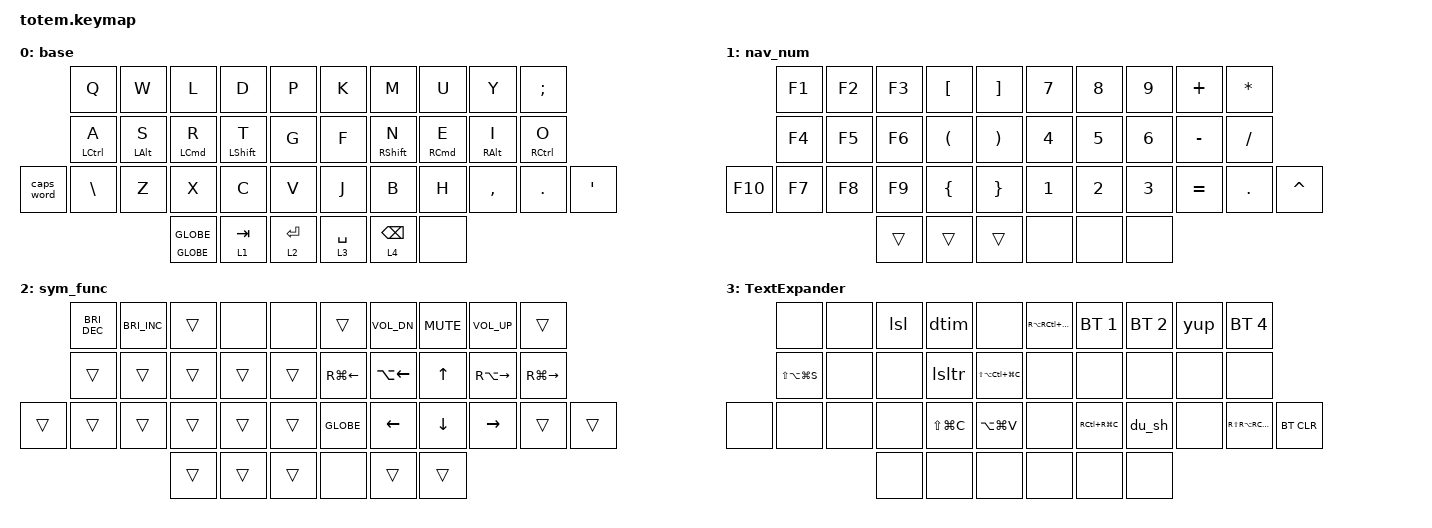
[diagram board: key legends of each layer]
//
//                                                        ▀▀▀▀▀     ▀▀▀▀▀          ▀▀█▀▀
//                                                        ▄▀▀▀▄  ▄  ▄▀▀▀▄  ▄  ▄▀▀▀▄  █  ▄▀▀▀▄
//                                                        █   █  █  █   █  █  █   █  █  █   █
//                                                         ▀▀▀   █   ▀▀▀   █   ▀▀▀   ▀   ▀▀▀
//                                                               █      ▄▄▄█▄▄▄    █   █  
//                                                               ▀      █  █  █     █▄█
//                                                             ▀▀▀▀▀    █  █  █      ▀
//                                                                      ▀  ▀  ▀
//
// ▄▄▄▄▄▄▄▄▄▄▄▄▄▄▄▄▄▄▄▄▄▄▄▄▄▄▄▄▄▄▄▄▄▄▄▄▄▄▄▄▄▄▄▄▄▄▄▄▄▄▄▄▄▄▄▄▄▄▄▄▄▄▄▄▄▄▄▄▄▄▄▄▄▄▄▄▄▄▄▄▄▄▄▄▄▄▄▄▄▄▄▄▄▄▄▄▄▄▄▄▄▄▄▄▄▄▄▄▄▄▄▄▄▄▄▄▄▄▄▄▄▄▄▄▄▄▄▄▄▄▄▄▄▄▄▄▄▄▄▄▄▄▄▄▄▄▄▄▄

#include <behaviors.dtsi>
#include <dt-bindings/zmk/bt.h>
#include <dt-bindings/zmk/keys.h>

/ {
    behaviors {
        cw: cw {
            compatible = "zmk,behavior-caps-word";
            label = "CW";
            #binding-cells = <0>;
            continue-list = <CAPSLOCK>;
        };

        hm: hm {
            compatible = "zmk,behavior-hold-tap";
            label = "HM";
            bindings = <&kp>, <&kp>;

            #binding-cells = <2>;
            tapping-term-ms = <200>;
            quick-tap-ms = <200>;
            require-prior-idle-ms = <200>;
            hold-trigger-key-positions = <13 12 11 10 19 18 17 16>;
        };

        lm: lm {
            compatible = "zmk,behavior-hold-tap";
            label = "LM";
            bindings = <&mo>, <&kp>;

            #binding-cells = <2>;
            tapping-term-ms = <200>;
            quick-tap-ms = <200>;
            require-prior-idle-ms = <200>;
            flavor = "hold-preferred";
            hold-trigger-key-positions = <33 34 35 36>;
        };

        mod: mod {
            compatible = "zmk,behavior-key-toggle";
            label = "MOD";
            #binding-cells = <1>;
        };

        hyper_meh: hyper_meh {
            compatible = "zmk,behavior-hold-tap";
            label = "HYPER_MEH";
            bindings = <&mt>, <&mt>;

            #binding-cells = <2>;
            hold-trigger-key-positions = <32 37>;
            tapping-term-ms = <200>;
            quick-tap-ms = <200>;
            require-prior-idle-ms = <200>;
            flavor = "tap-preferred";
        };
    };

    macros {
        lsl: lsl {
            compatible = "zmk,behavior-macro";
            #binding-cells = <0>;
            bindings = <&kp COLON &kp L &kp S>;
            label = "LSL";
        };

        lsltr: lsltr {
            compatible = "zmk,behavior-macro";
            #binding-cells = <0>;
            bindings = <&none &kp COLON &kp L &kp T>;
            label = "LSLTR";
        };

        apup: apup {
            compatible = "zmk,behavior-macro";
            #binding-cells = <0>;
            bindings = <&none &kp COLON &kp A &kp P &kp U &kp P>;
            label = "APUP";
        };

        yup: yup {
            compatible = "zmk,behavior-macro";
            #binding-cells = <0>;
            bindings = <&none &kp COLON &kp Y &kp U &kp P>;
            label = "YUP";
        };

        dtim: dtim {
            compatible = "zmk,behavior-macro";
            #binding-cells = <0>;
            bindings = <&none &kp D &kp T &kp I &kp M>;
            label = "DTIM";
        };

        du_sh: du_sh {
            compatible = "zmk,behavior-macro";
            #binding-cells = <0>;
            bindings = <&none &kp D &kp D &kp U &kp S>;
            label = "DU_SH";
        };
    };

    keymap {
        compatible = "zmk,keymap";

        base {
            bindings = <
            &kp Q               &kp W           &kp L               &kp D             &kp P          &kp K        &kp M              &kp U                &kp Y            &kp SEMI
            &hm LEFT_CONTROL A  &hm LEFT_ALT S  &hm LEFT_COMMAND R  &hm LEFT_SHIFT T  &kp G          &kp F        &hm RIGHT_SHIFT N  &hm RIGHT_COMMAND E  &hm RIGHT_ALT I  &hm RIGHT_CONTROL O
&caps_word  &kp BACKSLASH       &kp Z           &kp X               &kp C             &kp V          &kp J        &kp B              &kp H                &kp COMMA        &kp PERIOD           &kp APOS
                                                &mt GLOBE GLOBE     &lm 1 TAB         &lm 2 ENTER    &lm 3 SPACE  &lm 4 BACKSPACE    &none
            >;
        };

        nav_num {
            bindings = <
         &kp F1  &kp F2  &kp F3  &kp LEFT_BRACKET      &kp RIGHT_BRACKET        &kp NUMBER_7  &kp N8        &kp N9        &kp PLUS   &kp ASTERISK
         &kp F4  &kp F5  &kp F6  &kp LEFT_PARENTHESIS  &kp RIGHT_PARENTHESIS    &kp NUMBER_4  &kp N5        &kp NUMBER_6  &kp MINUS  &kp SLASH
&kp F10  &kp F7  &kp F8  &kp F9  &kp LEFT_BRACE        &kp RIGHT_BRACE          &kp NUMBER_1  &kp NUMBER_2  &kp NUMBER_3  &kp EQUAL  &kp DOT       &kp CARET
                         &trans  &trans                &trans                   &none         &none         &none
            >;
        };

        sym_func {
            bindings = <
        &kp C_BRIGHTNESS_DEC  &kp C_BRIGHTNESS_INC  &trans  &none   &none     &trans              &kp C_VOL_DN        &kp K_MUTE      &kp C_VOL_UP         &trans
        &trans                &trans                &trans  &trans  &trans    &kp RG(LEFT_ARROW)  &kp LA(LEFT_ARROW)  &kp UP_ARROW    &kp RA(RIGHT_ARROW)  &kp RG(RIGHT_ARROW)
&trans  &trans                &trans                &trans  &trans  &trans    &kp GLOBE           &kp LEFT_ARROW      &kp DOWN_ARROW  &kp RIGHT_ARROW      &trans               &trans
                                                    &trans  &trans  &trans    &none               &trans              &trans
            >;
        };

        TextExpander {
            bindings = <
       &none              &none  &lsl   &dtim          &none                    &kp RA(RC(RG(K)))  &bt BT_SEL 1   &bt BT_SEL 2  &yup   &bt BT_SEL 4
       &kp LS(LA(LG(S)))  &none  &none  &lsltr         &kp LS(LA(LC(LG(C))))    &none              &none          &none         &none  &none
&none  &none              &none  &none  &kp LS(LG(C))  &kp LA(LG(V))            &none              &kp RC(RG(C))  &du_sh        &none  &kp RS(RA(RC(RG(K))))  &bt BT_CLR
                                 &none  &none          &none                    &none              &none          &none
            >;
        };

        extra1 { status = "reserved"; };

        extra2 { status = "reserved"; };

        extra3 { status = "reserved"; };
    };

    conditional_layers {
        compatible = "zmk,conditional-layers";

        device {
            if-layers = <1 2>;
            then-layer = <3>;
        };
    };
};
